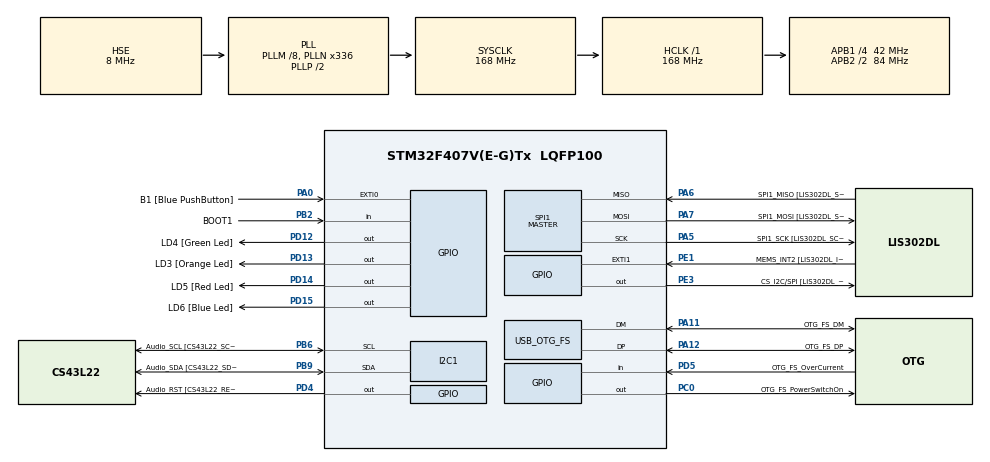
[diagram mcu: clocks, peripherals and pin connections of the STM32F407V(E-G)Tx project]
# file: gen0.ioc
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Mcu.Family=STM32F4
Mcu.Name=STM32F407V(E-G)Tx
Mcu.Package=LQFP100
NVIC.OTG_FS_IRQn=true\:0\:0\:false\:false\:true\:true\:true\:true
NVIC.PriorityGroup=NVIC_PRIORITYGROUP_0
NVIC.TIM1_BRK_TIM9_IRQn=true\:0\:5\:false\:false\:true\:true\:true\:true
PA0-WKUP.GPIO_Label=B1 [Blue PushButton]
PA0-WKUP.GPIO_ModeDefaultEXTI=GPIO_MODE_EVT_RISING
PA0-WKUP.GPIO_PuPd=GPIO_NOPULL
PA0-WKUP.Signal=GPXTI0
PA10.GPIO_Label=OTG_FS_ID
PA10.GPIO_Mode=GPIO_MODE_AF_PP
PA10.GPIO_PuPd=GPIO_NOPULL
PA10.GPIO_Speed=GPIO_SPEED_FREQ_LOW
PA10.Signal=USB_OTG_FS_ID
PA11.GPIO_Label=OTG_FS_DM
PA11.GPIO_Mode=GPIO_MODE_AF_PP
PA11.GPIO_PuPd=GPIO_NOPULL
PA11.GPIO_Speed=GPIO_SPEED_FREQ_LOW
PA11.Mode=Device_Only
PA11.Signal=USB_OTG_FS_DM
PA12.GPIO_Label=OTG_FS_DP
PA12.GPIO_Mode=GPIO_MODE_AF_PP
PA12.GPIO_PuPd=GPIO_NOPULL
PA12.GPIO_Speed=GPIO_SPEED_FREQ_LOW
PA12.Mode=Device_Only
PA12.Signal=USB_OTG_FS_DP
PA13.GPIO_Label=SWDIO
PA13.Mode=Serial_Wire
PA13.Signal=SYS_JTMS-SWDIO
PA14.GPIO_Label=SWCLK
PA14.Mode=Serial_Wire
PA14.Signal=SYS_JTCK-SWCLK
PA4.GPIO_Label=I2S3_WS [CS43L22_LRCK]
PA4.GPIO_Mode=GPIO_MODE_AF_PP
PA4.GPIO_PuPd=GPIO_NOPULL
PA4.GPIO_Speed=GPIO_SPEED_FREQ_LOW
PA4.Signal=I2S3_WS
PA5.GPIO_Label=SPI1_SCK [LIS302DL_SCL/SPC]
PA5.GPIO_Mode=GPIO_MODE_AF_PP
PA5.GPIO_PuPd=GPIO_NOPULL
PA5.GPIO_Speed=GPIO_SPEED_FREQ_LOW
PA5.Mode=Full_Duplex_Master
PA5.Signal=SPI1_SCK
PA6.GPIO_Label=SPI1_MISO [LIS302DL_SDO]
PA6.GPIO_Mode=GPIO_MODE_AF_PP
PA6.GPIO_PuPd=GPIO_NOPULL
PA6.GPIO_Speed=GPIO_SPEED_FREQ_LOW
PA6.Mode=Full_Duplex_Master
PA6.Signal=SPI1_MISO
PA7.GPIO_Label=SPI1_MOSI [LIS302DL_SDA/SDI/SDO]
PA7.GPIO_Mode=GPIO_MODE_AF_PP
PA7.GPIO_PuPd=GPIO_NOPULL
PA7.GPIO_Speed=GPIO_SPEED_FREQ_LOW
PA7.Mode=Full_Duplex_Master
PA7.Signal=SPI1_MOSI
PA9.GPIO_Label=VBUS_FS
PA9.GPIO_Mode=GPIO_MODE_INPUT
PA9.GPIO_PuPd=GPIO_NOPULL
PA9.Signal=USB_OTG_FS_VBUS
PB10.GPIO_Label=CLK_IN [MP45DT02_CLK]
PB10.GPIO_Mode=GPIO_MODE_AF_PP
PB10.GPIO_PuPd=GPIO_NOPULL
PB10.GPIO_Speed=GPIO_SPEED_FREQ_LOW
PB10.Signal=I2S2_CK
PB2.GPIO_Label=BOOT1
PB2.GPIO_Mode=GPIO_MODE_INPUT
PB2.GPIO_PuPd=GPIO_NOPULL
PB2.Signal=GPIO_Input
PB3.GPIO_Label=SWO
PB3.Signal=SYS_JTDO-SWO
PB6.GPIO_Label=Audio_SCL [CS43L22_SCL]
PB6.GPIO_Mode=GPIO_MODE_AF_OD
PB6.GPIO_Pu=GPIO_PULLUP
PB6.GPIO_PuPd=GPIO_NOPULL
PB6.GPIO_Speed=GPIO_SPEED_FREQ_LOW
PB6.Mode=I2C
PB6.Signal=I2C1_SCL
PB9.GPIO_Label=Audio_SDA [CS43L22_SDA]
PB9.GPIO_Mode=GPIO_MODE_AF_OD
PB9.GPIO_Pu=GPIO_PULLUP
PB9.GPIO_PuPd=GPIO_NOPULL
PB9.GPIO_Speed=GPIO_SPEED_FREQ_LOW
PB9.Mode=I2C
PB9.Signal=I2C1_SDA
PC0.GPIO_Label=OTG_FS_PowerSwitchOn
PC0.GPIO_PuPd=GPIO_NOPULL
PC0.GPIO_Speed=GPIO_SPEED_FREQ_LOW
PC0.PinState=GPIO_PIN_SET
PC0.Signal=GPIO_Output
PC10.GPIO_Label=I2S3_SCK [CS43L22_SCLK]
PC10.GPIO_Mode=GPIO_MODE_AF_PP
PC10.GPIO_PuPd=GPIO_NOPULL
PC10.GPIO_Speed=GPIO_SPEED_FREQ_LOW
PC10.Signal=I2S3_CK
PC12.GPIO_Label=I2S3_SD [CS43L22_SDIN]
PC12.GPIO_Mode=GPIO_MODE_AF_PP
PC12.GPIO_PuPd=GPIO_NOPULL
PC12.GPIO_Speed=GPIO_SPEED_FREQ_LOW
PC12.Signal=I2S3_SD
PC14-OSC32_IN.GPIO_Label=PC14-OSC32_IN
PC14-OSC32_IN.Mode=LSE-External-Oscillator
PC14-OSC32_IN.Signal=RCC_OSC32_IN
PC15-OSC32_OUT.GPIO_Label=PC15-OSC32_OUT
PC15-OSC32_OUT.Mode=LSE-External-Oscillator
PC15-OSC32_OUT.Signal=RCC_OSC32_OUT
PC3.GPIO_Label=PDM_OUT [MP45DT02_DOUT]
PC3.GPIO_Mode=GPIO_MODE_AF_PP
PC3.GPIO_PuPd=GPIO_NOPULL
PC3.GPIO_Speed=GPIO_SPEED_FREQ_LOW
PC3.Signal=I2S2_SD
PC7.GPIO_Label=I2S3_MCK [CS43L22_MCLK]
PC7.GPIO_Mode=GPIO_MODE_AF_PP
PC7.GPIO_PuPd=GPIO_NOPULL
PC7.GPIO_Speed=GPIO_SPEED_FREQ_LOW
PC7.Signal=I2S3_MCK
PD12.GPIO_Label=LD4 [Green Led]
PD12.GPIO_PuPd=GPIO_NOPULL
PD12.GPIO_Speed=GPIO_SPEED_FREQ_LOW
PD12.Signal=GPIO_Output
PD13.GPIO_Label=LD3 [Orange Led]
PD13.GPIO_PuPd=GPIO_NOPULL
PD13.GPIO_Speed=GPIO_SPEED_FREQ_LOW
PD13.Signal=GPIO_Output
PD14.GPIO_Label=LD5 [Red Led]
PD14.GPIO_PuPd=GPIO_NOPULL
PD14.GPIO_Speed=GPIO_SPEED_FREQ_LOW
PD14.Signal=GPIO_Output
PD15.GPIO_Label=LD6 [Blue Led]
PD15.GPIO_PuPd=GPIO_NOPULL
PD15.GPIO_Speed=GPIO_SPEED_FREQ_LOW
PD15.Signal=GPIO_Output
PD4.GPIO_Label=Audio_RST [CS43L22_RESET]
PD4.GPIO_PuPd=GPIO_NOPULL
PD4.GPIO_Speed=GPIO_SPEED_FREQ_LOW
PD4.Signal=GPIO_Output
PD5.GPIO_Label=OTG_FS_OverCurrent
PD5.GPIO_Mode=GPIO_MODE_INPUT
PD5.GPIO_PuPd=GPIO_NOPULL
PD5.Signal=GPIO_Input
PE1.GPIO_Label=MEMS_INT2 [LIS302DL_INT2]
PE1.GPIO_ModeDefaultEXTI=GPIO_MODE_EVT_RISING
PE1.GPIO_PuPd=GPIO_NOPULL
PE1.Signal=GPXTI1
PE3.GPIO_Label=CS_I2C/SPI [LIS302DL_CS_I2C/SPI]
PE3.GPIO_PuPd=GPIO_NOPULL
PE3.GPIO_Speed=GPIO_SPEED_FREQ_LOW
PE3.Signal=GPIO_Output
PH0-OSC_IN.GPIO_Label=PH0-OSC_IN
PH0-OSC_IN.Mode=HSE-External-Oscillator
PH0-OSC_IN.Signal=RCC_OSC_IN
PH1-OSC_OUT.GPIO_Label=PH1-OSC_OUT
PH1-OSC_OUT.Mode=HSE-External-Oscillator
PH1-OSC_OUT.Signal=RCC_OSC_OUT
ProjectManager.HeapSize=0x200
ProjectManager.StackSize=0x400
ProjectManager.TargetToolchain=STM32CubeIDE
RCC.48MHZClocksFreq_Value=48000000
RCC.AHBFreq_Value=168000000
RCC.APB1CLKDivider=RCC_HCLK_DIV4
RCC.APB1Freq_Value=42000000
RCC.APB1TimFreq_Value=84000000
RCC.APB2CLKDivider=RCC_HCLK_DIV2
RCC.APB2Freq_Value=84000000
RCC.APB2TimFreq_Value=168000000
RCC.CortexFreq_Value=168000000
RCC.HCLKFreq_Value=168000000
RCC.HSE_VALUE=8000000
RCC.HSI_VALUE=16000000
RCC.PLLM=8
RCC.PLLN=336
RCC.PLLQ=7
RCC.SYSCLKFreq_VALUE=168000000
RCC.SYSCLKSource=RCC_SYSCLKSOURCE_PLLCLK
RCC.VCOOutputFreq_Value=336000000
SPI1.BaudRatePrescaler-Full_Duplex_Master=SPI_BAUDRATEPRESCALER_2
SPI1.CalculateBaudRate-Full_Duplex_Master=42.0 MBits/s
SPI1.Direction=SPI_DIRECTION_2LINES
SPI1.Mode=SPI_MODE_MASTER
SPI1.Mode-Full_Duplex_Master=SPI_MODE_MASTER
SPI1.VirtualType=VM_MASTER
USB_DEVICE.APP_RX_DATA_SIZE-CDC_FS=1024
USB_DEVICE.APP_TX_DATA_SIZE-CDC_FS=2048
USB_DEVICE.CLASS_NAME_FS=CDC
USB_DEVICE.VirtualMode-CDC_FS=Cdc
USB_DEVICE.VirtualModeFS=Cdc_FS
USB_OTG_FS.VirtualMode=Device_Only
VP_TIM9_VS_ClockSourceINT.Mode=Internal
VP_USB_DEVICE_VS_USB_DEVICE_CDC_FS.Mode=CDC_FS
board=STM32F407G-DISC1

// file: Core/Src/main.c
/* USER CODE BEGIN Header */
/**
  ******************************************************************************
  * @file           : main.c
  * @brief          : Main program body
  ******************************************************************************
  * @attention
  *
  * Copyright (c) 2025 STMicroelectronics.
  * All rights reserved.
  *
  * This software is licensed under terms that can be found in the LICENSE file
  * in the root directory of this software component.
  * If no LICENSE file comes with this software, it is provided AS-IS.
  *
  ******************************************************************************
  */
/* USER CODE END Header */
#include "main.h"
#include "i2c.h"
#include "spi.h"
#include "tim.h"
#include "usb_device.h"
#include "gpio.h"

/* USER CODE BEGIN Includes */
/*
#include "stm32f4_discovery.h"
#include "stm32f4_discovery_accelerometer.h"
#include "lowpass.h"
*/
#include "usbd_cdc_if.h"
#include "uartSlave.h"
#include "UartSlaveAccel.h"

#include "stm32f4_discovery.h"
#include "stm32f4_discovery_accelerometer.h"

/* USER CODE END Includes */

/* USER CODE BEGIN PTD */

typedef struct uart_slave_info_s
{
	UartSlave_TypeDef * Parent;
	void * Child;
} UartSlaveInfo_TypeDef;
/* USER CODE END PTD */

/* USER CODE BEGIN PD */
#define IDX_X (0U)
#define IDX_Y (1U)
#define IDX_Z (2U)
#define UARTSLAVE_DEVICE_COUNT (1U)
/* USER CODE END PD */

/* USER CODE BEGIN PV */
uint8_t accelId = 0;
int16_t accelXYZ [3] = {0};
Lowpass_TypeDef accelX;
Lowpass_TypeDef accelY;
Lowpass_TypeDef accelZ;

uint32_t idxUartSlave;
uint32_t start_tick, end_tick;

uint8_t tim9_elapsed = 0;
float time;

// UartSlave_TypeDef * uartSlaveDevices [UARTSLAVE_DEVICE_COUNT];
UartSlaveInfo_TypeDef uartSlaveDevices [UARTSLAVE_DEVICE_COUNT];
uint32_t uartSlaveDeviceIdx;
UartSlaveAccel_TypeDef uartSlaveAccelDevice;
UartSlaveIo_TypeDef uartSlaveAccelDeviceIoContext
=
			{
					NULL,
					NULL,
					CDC_Transmit_FS,
					NULL
			};
/* USER CODE END PV */

void SystemClock_Config(void);

int main(void)
{

  /* USER CODE BEGIN 1 */
/*	lowpass_Init(&accelX, 0.02);
	lowpass_Init(&accelY, 0.02);
	lowpass_Init(&accelZ, 0.02);
	*/
//	uartSlaveAccelDeviceIoContext uartSlaveAccelIoContext =
//			{
//					NULL,
//					NULL,
//					CDC_Transmit_FS,
//					NULL
//			};
	UartSlaveAccel_Init (& uartSlaveAccelDevice, & uartSlaveAccelDeviceIoContext, 0x16U);
	uartSlaveDevices [0].Parent = & uartSlaveAccelDevice.UartSlaveInstance;
	uartSlaveDevices [0].Child = & uartSlaveAccelDevice;
  /* USER CODE END 1 */

  /* MCU Configuration--------------------------------------------------------*/

  /* Reset of all peripherals, Initializes the Flash interface and the Systick. */
  HAL_Init();

  /* USER CODE BEGIN Init */
  // BSP_ACCELERO_Init();
  /* USER CODE END Init */

  /* Configure the system clock */
  SystemClock_Config();

  /* USER CODE BEGIN SysInit */
  HAL_Delay(1000);
  CoreDebug->DEMCR |= CoreDebug_DEMCR_TRCENA_Msk;
  DWT->CYCCNT = 0;
  DWT->CTRL = DWT_CTRL_CYCCNTENA_Msk;
  /* USER CODE END SysInit */

  /* Initialize all configured peripherals */
  MX_GPIO_Init();
  MX_I2C1_Init();
  MX_SPI1_Init();
  MX_TIM9_Init();
  MX_USB_DEVICE_Init();
  /* USER CODE BEGIN 2 */

  BSP_ACCELERO_Init();
  HAL_TIM_Base_Init(&htim9);
  HAL_TIM_Base_Start_IT(&htim9);
  accelId = BSP_ACCELERO_ReadID();
  /* USER CODE END 2 */

  /* Infinite loop */
  /* USER CODE BEGIN WHILE */
  HAL_GetTick();
  while (1)
  {
    /* USER CODE END WHILE */

    /* USER CODE BEGIN 3 */
    if (1 == tim9_elapsed)
    {
//        BSP_ACCELERO_GetXYZ(&accelXYZ[0]);
//
//        lowpass_update(&accelX, (float)accelXYZ[IDX_X]);
//        lowpass_update(&accelY, (float)accelXYZ[IDX_Y]);
//        lowpass_update(&accelZ, (float)accelXYZ[IDX_Z]);
//        end_tick = DWT->CYCCNT;
//        time = (float)(end_tick-   start_tick)/(SystemCoreClock/1000.0);

    	xvUartSlaveSetTxFlag(&uartSlaveAccelDevice.UartSlaveInstance, UARTSLAVE_ACCEL_FLAG_TX);
    	tim9_elapsed = 0;
    }

    for (idxUartSlave = 0; idxUartSlave < UARTSLAVE_DEVICE_COUNT; ++idxUartSlave)
    {
    	uartSlaveDevices [idxUartSlave].Parent -> pfvStateMachine (uartSlaveDevices [idxUartSlave].Child );
    }
    //HAL_Delay(1500);
  }
  /* USER CODE END 3 */
}

void SystemClock_Config(void)
{
  RCC_OscInitTypeDef RCC_OscInitStruct = {0};
  RCC_ClkInitTypeDef RCC_ClkInitStruct = {0};

  /** Configure the main internal regulator output voltage
  */
  __HAL_RCC_PWR_CLK_ENABLE();
  __HAL_PWR_VOLTAGESCALING_CONFIG(PWR_REGULATOR_VOLTAGE_SCALE1);

  /** Initializes the RCC Oscillators according to the specified parameters
  * in the RCC_OscInitTypeDef structure.
  */
  RCC_OscInitStruct.OscillatorType = RCC_OSCILLATORTYPE_HSE;
  RCC_OscInitStruct.HSEState = RCC_HSE_ON;
  RCC_OscInitStruct.PLL.PLLState = RCC_PLL_ON;
  RCC_OscInitStruct.PLL.PLLSource = RCC_PLLSOURCE_HSE;
  RCC_OscInitStruct.PLL.PLLM = 8;
  RCC_OscInitStruct.PLL.PLLN = 336;
  RCC_OscInitStruct.PLL.PLLP = RCC_PLLP_DIV2;
  RCC_OscInitStruct.PLL.PLLQ = 7;
  if (HAL_RCC_OscConfig(&RCC_OscInitStruct) != HAL_OK)
  {
    Error_Handler();
  }

  /** Initializes the CPU, AHB and APB buses clocks
  */
  RCC_ClkInitStruct.ClockType = RCC_CLOCKTYPE_HCLK|RCC_CLOCKTYPE_SYSCLK
                              |RCC_CLOCKTYPE_PCLK1|RCC_CLOCKTYPE_PCLK2;
  RCC_ClkInitStruct.SYSCLKSource = RCC_SYSCLKSOURCE_PLLCLK;
  RCC_ClkInitStruct.AHBCLKDivider = RCC_SYSCLK_DIV1;
  RCC_ClkInitStruct.APB1CLKDivider = RCC_HCLK_DIV4;
  RCC_ClkInitStruct.APB2CLKDivider = RCC_HCLK_DIV2;

  if (HAL_RCC_ClockConfig(&RCC_ClkInitStruct, FLASH_LATENCY_5) != HAL_OK)
  {
    Error_Handler();
  }
}

/* USER CODE BEGIN 4 */
/**
  * @brief  Period elapsed callback in non-blocking mode
  * @param  htim TIM handle
  * @retval None
  */
void HAL_TIM_PeriodElapsedCallback(TIM_HandleTypeDef *htim)
{
  /* Prevent unused argument(s) compilation warning */
  UNUSED(htim);

  /* NOTE : This function should not be modified, when the callback is needed,
            the HAL_TIM_PeriodElapsedCallback could be implemented in the user file
   */

  if (&htim9 == htim)
  {

  	start_tick = DWT->CYCCNT;
	  tim9_elapsed = 1;
  }

}

/* USER CODE END 4 */

void Error_Handler(void)
{
  __disable_irq();
  while (1)
  {
  }
}
